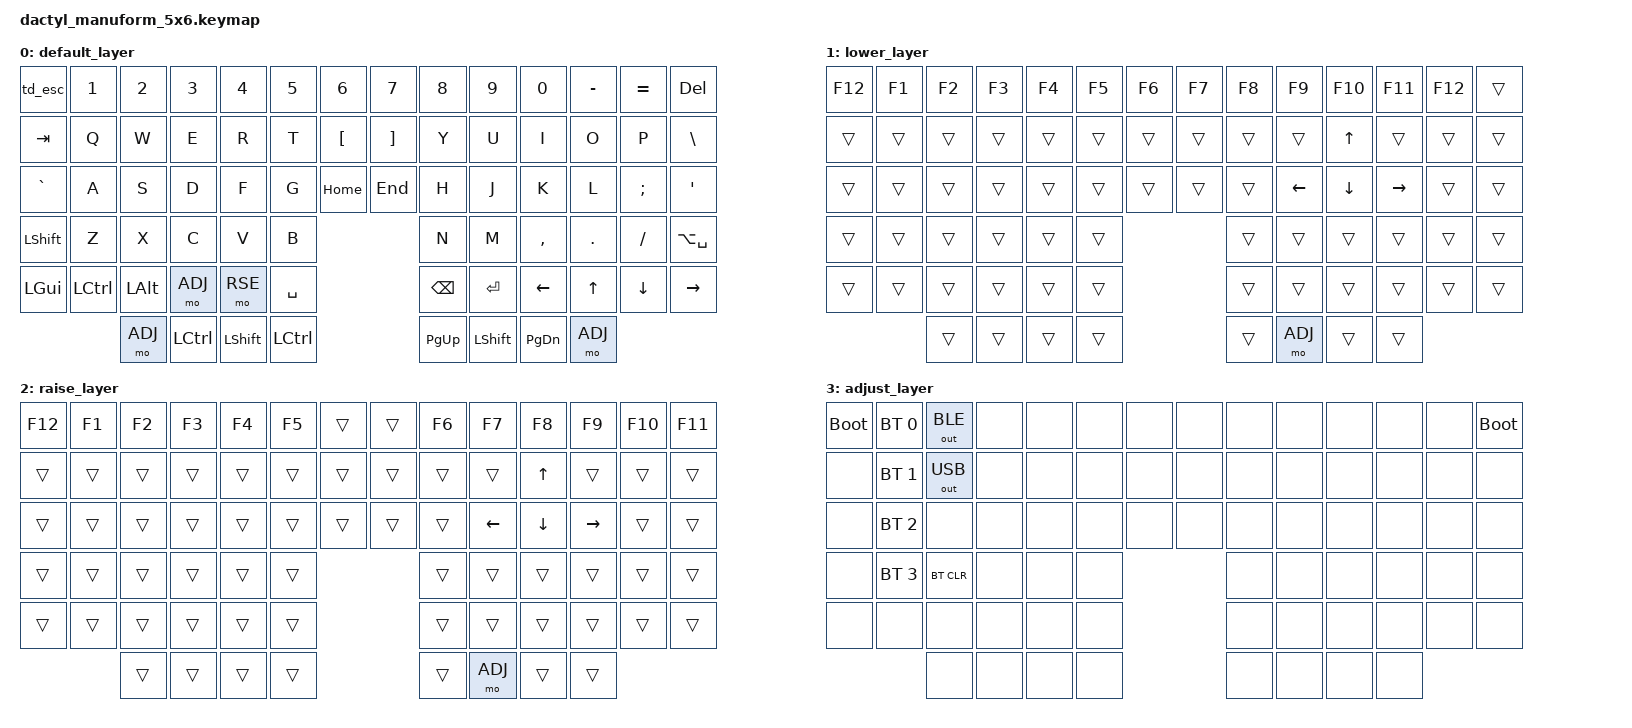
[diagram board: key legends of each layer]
#include <behaviors.dtsi>
#include <dt-bindings/zmk/keys.h>
#include <dt-bindings/zmk/bt.h>
#include <dt-bindings/zmk/outputs.h>

#define DEFAULT 0
#define LWR 1
#define RSE 2
#define ADJ 3




/ {

    behaviors {
        td_esc: td_esc {
            compatible = "zmk,behavior-tap-dance";
            label = "TD_ESC";
            tapping-term-ms = <170>;
            #binding-cells = <0>;
            bindings =  <&kp ESCAPE>, <&kp LC(C)>;
        };
        skq: sticky_key_quick_release {
        compatible = "zmk,behavior-sticky-key";
        #binding-cells = <1>;
        bindings = <&kp>;
        release-after-ms = <1000>;
        quick-release;
        ignore-modifiers;
      };
    };

    keymap {
        compatible = "zmk,keymap";

        default_layer {
            bindings = <
                &td_esc   &kp N1 &kp N2 &kp N3 &kp N4 &kp N5 &kp N6         &kp N7 &kp N8   &kp N9  &kp N0   &kp MINUS &kp EQUAL &kp DEL
                &kp TAB   &kp Q  &kp W  &kp E  &kp R  &kp T  &kp LBKT       &kp RBKT &kp Y    &kp U   &kp I    &kp O     &kp P     &kp BSLH
                &kp GRAVE &kp A  &kp S  &kp D  &kp F  &kp G  &kp HOME       &kp END &kp H   &kp J   &kp K    &kp L     &kp SEMI  &kp APOS
                &kp LSHFT &kp Z  &kp X  &kp C  &kp V  &kp B                         &kp N   &kp M   &kp COMMA &kp DOT  &kp FSLH  &kp LA(SPACE)
                &kp LGUI  &kp LCTRL &kp LALT &mo ADJ  &mo RSE &kp SPACE     &kp BSPC    &kp RET  &kp LEFT &kp UP &kp DOWN &kp RIGHT
                               &mo ADJ  &kp LCTRL  &kp LSHFT &kp LCTRL    &kp PG_UP   &kp LSHFT  &kp PG_DN &mo ADJ
            >;
        };

        lower_layer {
            bindings = <
                &kp F12 &kp F1 &kp F2 &kp F3 &kp F4 &kp F5  &kp F6        &kp F7 &kp F8 &kp F9   &kp F10   &kp F11 &kp F12 &trans
                &trans  &trans &trans &trans &trans &trans  &trans        &trans &trans &trans   &kp UP   &trans &trans    &trans
                &trans  &trans &trans &trans &trans &trans  &trans        &trans &trans &kp LEFT &kp DOWN &kp RIGHT &trans &trans
                &trans  &trans &trans &trans &trans &trans                       &trans &trans   &trans   &trans &trans    &trans
                &trans  &trans &trans &trans &trans &trans                       &trans &trans   &trans   &trans &trans    &trans
                               &trans &trans &trans &trans                &trans &mo ADJ &trans  &trans

            >;
        };

        raise_layer {
            bindings = <
                &kp F12 &kp F1 &kp F2 &kp F3 &kp F4 &kp F5  &trans        &trans &kp F6 &kp F7   &kp F8   &kp F9 &kp F10   &kp F11
                &trans  &trans &trans &trans &trans &trans  &trans        &trans &trans &trans   &kp UP   &trans &trans    &trans
                &trans  &trans &trans &trans &trans &trans  &trans        &trans &trans &kp LEFT &kp DOWN &kp RIGHT &trans &trans
                &trans  &trans &trans &trans &trans &trans                       &trans &trans   &trans   &trans &trans    &trans
                &trans  &trans &trans &trans &trans &trans                       &trans &trans   &trans   &trans &trans    &trans
                               &trans &trans &trans &trans                &trans &mo ADJ &trans  &trans
            >;
        };

        adjust_layer {
            bindings = <
                &bootloader &bt BT_SEL 0 &out OUT_BLE &none &none &none &none        &none &none &none &none &none &none &bootloader
                &none       &bt BT_SEL 1 &out OUT_USB &none &none &none &none        &none &none &none &none &none &none &none
                &none       &bt BT_SEL 2 &none        &none &none &none &none        &none &none &none &none &none &none &none
                &none       &bt BT_SEL 3 &bt BT_CLR   &none &none &none                    &none &none &none &none &none &none
                &none       &none        &none        &none &none &none                    &none &none &none &none &none &none
                            &none        &none        &none &none                          &none &none &none &none
            >;
        };
    };
};
